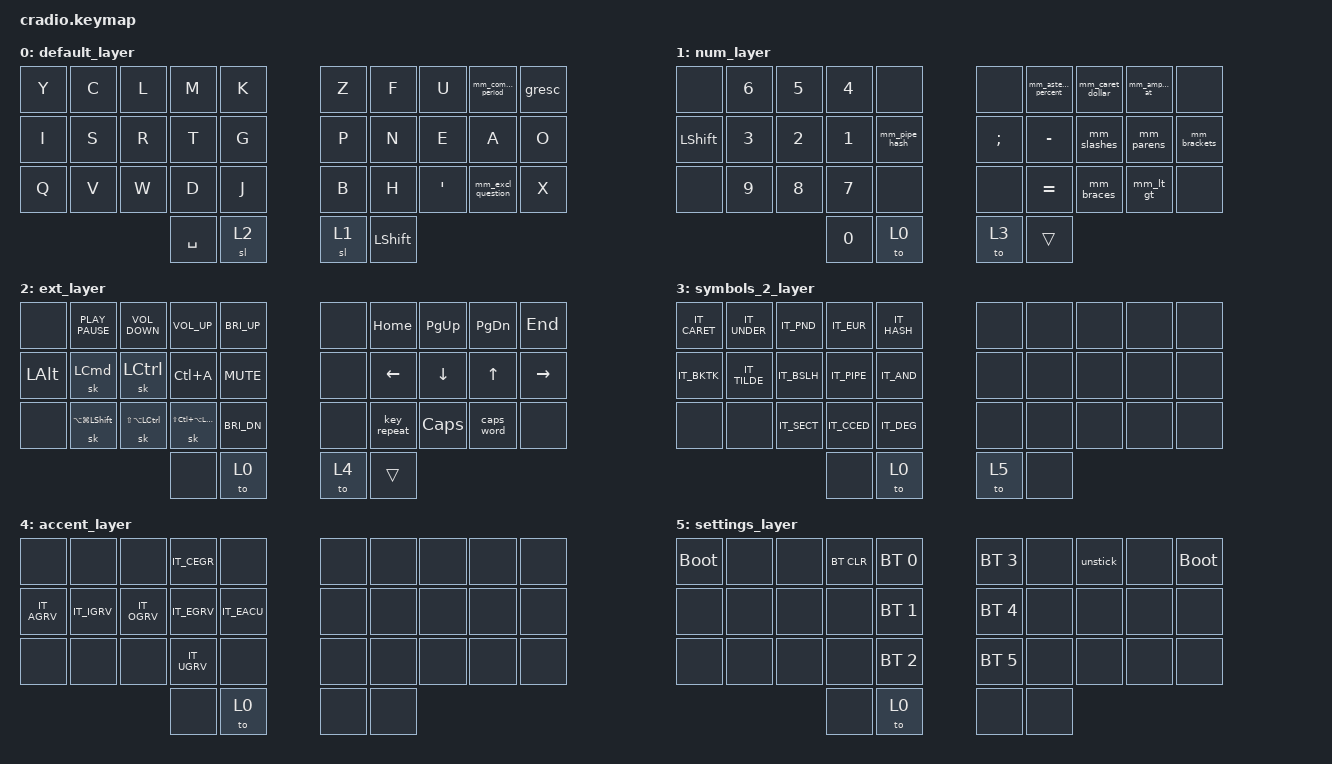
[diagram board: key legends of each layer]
/*
 * Copyright (c) 2020 The ZMK Contributors
 *
 * SPDX-License-Identifier: MIT
 */

#include <behaviors.dtsi>
#include "keymap_italian.h"
#include <dt-bindings/zmk/keys.h>
#include <dt-bindings/zmk/bt.h>

// Layer definitions

#define BASE 0
#define NUM 1
#define EXT 2
#define FNC 3
#define SYM2 4
#define ACCENT 5
#define SETTINGS 6

// -----------------
// Convenience Methods

#define MOD_MORPH(NAME, KEY, MOD_KEY) \
  mm_##NAME: mm_##NAME { \
    compatible = "zmk,behavior-mod-morph"; \
    label = #NAME; \
    #binding-cells = <0>; \
    bindings = <&kp KEY>, <&kp MOD_KEY>; \
    mods = <(MOD_LSFT|MOD_RSFT)>; \
  };

&mt {
    //  flavor = "tap-preferred";
    // tapping_term_ms = <200>;
};

&sk {
    ignore-modifiers;
};

/ {
    macros {
        // sometimes my device thinks a modifier is being held down
        // pressing all modifiers fixes it.

        unstick: unstick {
            label = "ZM_unstick";
            compatible = "zmk,behavior-macro";
            #binding-cells = <0>;
            bindings = <&kp LSHIFT &kp RSHIFT &kp LCTRL &kp RCTRL &kp LALT &kp RALT &kp LGUI &kp RGUI>;
        };
    };

    combos {
        compatible = "zmk,combos";

        // both right thumb keys
        // internal-left & external-right thumb keys
        // both left thumb keys

        del {
            bindings = <&mt LEFT_ALT BACKSPACE>;
            key-positions = <7 8>;
        };

        return {
            bindings = <&sk RET>;
            key-positions = <30 33>;
        };

        ctrl {
            bindings = <&sk LCTRL>;
            key-positions = <31 32>;
        };

        alt {
            bindings = <&sk LEFT_ALT>;
            key-positions = <27 28>;
        };

        tab {
            bindings = <&kp TAB>;
            key-positions = <1 2>;
            layers = <0>;
        };
    };

    behaviors {
        htp: ht_tap_preferred {
            compatible = "zmk,behavior-hold-tap";
            label = "HT_TAP_PREFERRED";
            #binding-cells = <2>;
            tapping-term-ms = <150>;
            quick-tap-ms = <0>;
            flavor = "tap-preferred";
            bindings =
                <&kp>,
                <&kp>;
        };

        MOD_MORPH(brackets,LEFT_BRACKET,RIGHT_BRACKET)
        MOD_MORPH(braces,LEFT_BRACE,RIGHT_BRACE)
        MOD_MORPH(lt_gt,LESS_THAN,GREATER_THAN)
        MOD_MORPH(parens,LEFT_PARENTHESIS,RIGHT_PARENTHESIS)
        MOD_MORPH(slashes,SLASH,BACKSLASH)
        MOD_MORPH(comma_period,COMMA,PERIOD)
        MOD_MORPH(excl_question,EXCL,QUESTION)
        MOD_MORPH(caret_dollar,CARET,DOLLAR)
        MOD_MORPH(asterisk_percent,ASTRK,PERCENT)
        MOD_MORPH(ampersand_at,AMPERSAND,AT)
        MOD_MORPH(pipe_hash,PIPE,HASH)
    };

    keymap {
        compatible = "zmk,keymap";

        // Base alpha layer

        default_layer {
            bindings = <
  &kp Y   &kp C   &kp L      &kp M   &kp K   &kp Z           &kp F           &kp U   &mm_comma_period  &gresc
  &kp I   &kp S   &kp R      &kp T   &kp G   &kp P           &kp N           &kp E              &kp A   &kp O
  &kp Q   &kp V   &kp W      &kp D   &kp J   &kp B           &kp H  &kp APOSTROPHE  &mm_excl_question   &kp X
                         &kp SPACE   &sl 2   &sl 1  &kp LEFT_SHIFT
            >;
        };

        // Numbers and high frequency symbols

        num_layer {
            bindings = <
          &none  &kp NUMBER_6  &kp NUMBER_5  &kp NUMBER_4          &none     &none  &mm_asterisk_percent  &mm_caret_dollar  &mm_ampersand_at         &none
 &kp LEFT_SHIFT  &kp NUMBER_3  &kp NUMBER_2  &kp NUMBER_1  &mm_pipe_hash  &kp SEMI             &kp MINUS       &mm_slashes        &mm_parens  &mm_brackets
          &none  &kp NUMBER_9        &kp N8  &kp NUMBER_7          &none     &none             &kp EQUAL        &mm_braces         &mm_lt_gt         &none
                                                   &kp N0          &to 0     &to 3                &trans
            >;
        };

        // Main modifiers and arrow keys

        ext_layer {
            bindings = <
        &none        &kp K_PLAY_PAUSE  &kp K_VOLUME_DOWN              &kp K_VOL_UP  &kp C_BRI_UP   &none     &kp HOME     &kp PG_UP   &kp PG_DN    &kp END
 &kp LEFT_ALT        &sk LEFT_COMMAND   &sk LEFT_CONTROL                 &kp LC(A)    &kp K_MUTE   &none     &kp LEFT      &kp DOWN      &kp UP  &kp RIGHT
        &none  &sk LA(LG(LEFT_SHIFT))  &sk LS(LA(LCTRL))  &sk LS(LC(LA(LEFT_GUI)))  &kp C_BRI_DN   &none  &key_repeat  &kp CAPSLOCK  &caps_word      &none
                                                                             &none         &to 0   &to 4       &trans
            >;
        };

        // Function keys with modifiers
        // Low frequency symbols.

        symbols_2_layer {
            bindings = <
 &kp IT_CARET  &kp IT_UNDER   &kp IT_PND   &kp IT_EUR  &kp IT_HASH   &none   &none   &none   &none   &none
  &kp IT_BKTK  &kp IT_TILDE  &kp IT_BSLH  &kp IT_PIPE   &kp IT_AND   &none   &none   &none   &none   &none
        &none         &none  &kp IT_SECT  &kp IT_CCED   &kp IT_DEG   &none   &none   &none   &none   &none
                                                &none        &to 0   &to 5   &none
            >;
        };

        // Used to type regional accents.

        accent_layer {
            bindings = <
       &none        &none        &none  &kp IT_CEGR        &none   &none   &none   &none   &none   &none
 &kp IT_AGRV  &kp IT_IGRV  &kp IT_OGRV  &kp IT_EGRV  &kp IT_EACU   &none   &none   &none   &none   &none
       &none        &none        &none  &kp IT_UGRV        &none   &none   &none   &none   &none   &none
                                              &none        &to 0   &none   &none
            >;
        };

        // Used to change the keyboard's settings.

        settings_layer {
            bindings = <
 &bootloader   &none   &none  &bt BT_CLR  &bt BT_SEL 0  &bt BT_SEL 3   &none  &unstick   &none  &bootloader
       &none   &none   &none       &none  &bt BT_SEL 1  &bt BT_SEL 4   &none     &none   &none        &none
       &none   &none   &none       &none  &bt BT_SEL 2  &bt BT_SEL 5   &none     &none   &none        &none
                                   &none         &to 0         &none   &none
            >;
        };
    };
};
